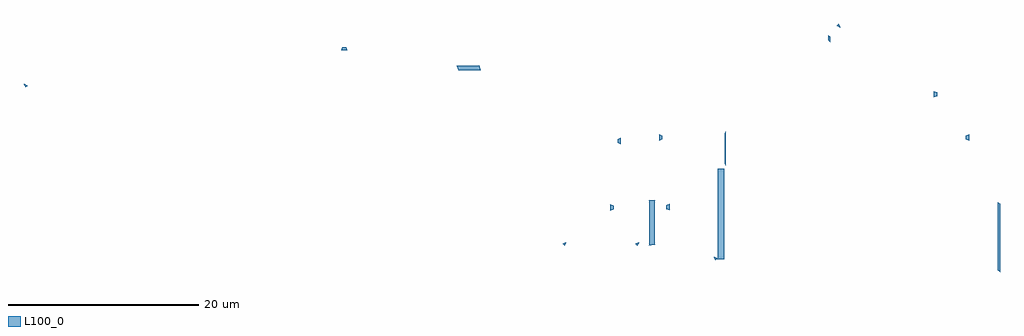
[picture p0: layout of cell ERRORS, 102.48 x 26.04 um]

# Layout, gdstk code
import gdstk
lib = gdstk.Library(unit=1e-6, precision=1e-09)
def R(c, l, rs):  # rectangles x0, y0, x1, y1
    for r in rs: c.add(gdstk.rectangle(r[:2], r[2:], *l))
def P(c, l, *ps):  # polygons
    for p in ps: c.add(gdstk.Polygon(p, *l))
L100_0 = (100, 0)

drive_ilogic_14_drc = lib.new_cell('DRIVE_ILOGIC_14_drc')
R(drive_ilogic_14_drc, L100_0, [(82.05,-15.55,82.75,-6.15)])
P(drive_ilogic_14_drc, L100_0, [(108.45,-2.565),(108.1,-2.7),(108.1,-3.1),(108.45,-3.235)],
  [(105.1,1.85),(104.75,1.985),(104.75,1.315),(105.1,1.45)],
  [(77,-9.865),(76.65,-10),(76.65,-10.4),(77,-10.535)],
  [(76.25,-2.7),(75.9,-2.565),(75.9,-3.235),(76.25,-3.1)],
  [(71.9,-2.915),(71.55,-3.05),(71.55,-3.45),(71.9,-3.585)],
  [(71.15,-10.05),(70.8,-9.915),(70.8,-10.585),(71.15,-10.45)],
  [(82.75,-15.55),(82.05,-15.55),(81.95,-15.65),(82.75,-15.65)],
  [(111.7,-9.85),(111.45,-9.684),(111.45,-16.85),(111.7,-17.016)],
  [(93.9,7.7),(93.65,7.866),(93.65,7.3),(93.9,7.134)],
  [(82.9,-2.217),(82.8,-2.5),(82.8,-5.6),(82.9,-5.883)],
  [(75.5,-14.15),(75.45,-14.1),(75.45,-9.5),(75.493,-9.457),(75.195,-9.5),(74.8,-9.5),(74.85,-9.55),(74.85,-14.2),(74.814,-14.236),(75.056,-14.184)],
  [(94.9,8.7),(94.778,9.028),(94.572,8.822),(94.9,8.655)],
  [(94.945,8.7),(94.778,9.028),(94.572,8.822),(94.9,8.7)],
  [(82.028,-15.572),(81.7,-15.45),(81.655,-15.45),(81.822,-15.778)],
  [(82.028,-15.572),(81.7,-15.405),(81.7,-15.45),(81.822,-15.778)],
  [(73.75,-13.905),(73.422,-14.072),(73.628,-14.278),(73.75,-13.95)],
  [(73.795,-13.95),(73.75,-13.95),(73.422,-14.072),(73.628,-14.278)],
  [(66.1,-13.905),(65.772,-14.072),(65.978,-14.278),(66.1,-13.95)],
  [(66.145,-13.95),(66.1,-13.95),(65.772,-14.072),(65.978,-14.278)])

dec_or7_drc = lib.new_cell('DEC_OR7_drc')
P(dec_or7_drc, L100_0, [(43.185,6.25),(43.05,6.6),(42.65,6.6),(42.515,6.25)],
  [(9.589,2.539),(9.25,2.7),(9.22,2.7),(9.412,2.362)],
  [(9.589,2.539),(9.25,2.73),(9.25,2.7),(9.412,2.362)],
  [(57.179,4.15),(57,4.7),(56.95,4.65),(56.721,4.15)],
  [(55.129,4.65),(54.671,4.65),(54.85,4.1),(54.9,4.15)],
  [(57.179,4.15),(56.95,4.65),(54.671,4.65),(54.9,4.15)])

errors = lib.new_cell('ERRORS')
errors.add(gdstk.Reference(drive_ilogic_14_drc, (0,0)))
errors.add(gdstk.Reference(dec_or7_drc, (0,0)))

lib.write_gds('ERRORS.gds')
